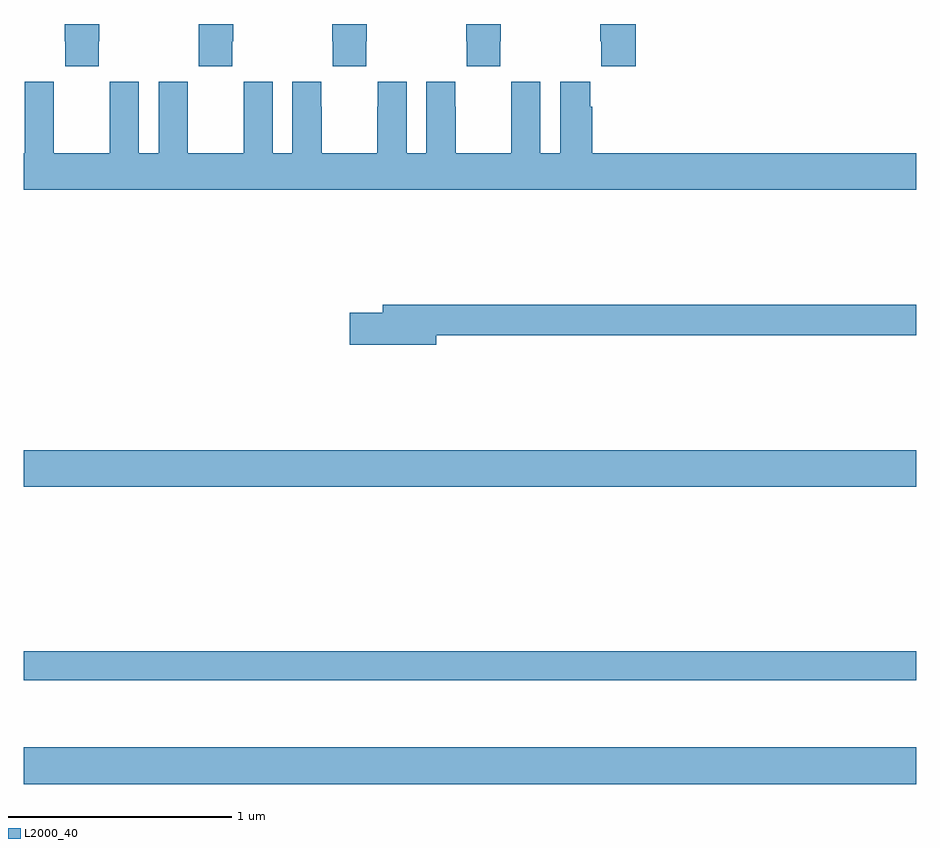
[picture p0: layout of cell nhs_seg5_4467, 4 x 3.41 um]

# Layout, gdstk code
import gdstk
lib = gdstk.Library(unit=1e-6, precision=1e-09)
def R(c, l, rs):  # rectangles x0, y0, x1, y1
    for r in rs: c.add(gdstk.rectangle(r[:2], r[2:], *l))
def P(c, l, *ps):  # polygons
    for p in ps: c.add(gdstk.Polygon(p, *l))
L2000_40 = (2000, 40)

nhs_seg5_4467 = lib.new_cell('nhs_seg5_4467')
R(nhs_seg5_4467, L2000_40, [(373,891.392,377,891.556), (373,891.858,377,891.986), (373,892.724,377,892.888)])
P(nhs_seg5_4467, L2000_40, [(373.335,894.721),(373.338,894.721),(373.338,894.799),(373.183,894.799),(373.183,894.721),(373.185,894.721),(373.185,894.609),(373.335,894.609)],
  [(373.935,894.721),(373.938,894.721),(373.938,894.799),(373.783,894.799),(373.783,894.721),(373.785,894.721),(373.785,894.609),(373.935,894.609)],
  [(374.383,894.721),(374.385,894.721),(374.385,894.609),(374.535,894.609),(374.535,894.721),(374.538,894.721),(374.538,894.799),(374.383,894.799)],
  [(375.743,894.799),(375.583,894.799),(375.583,894.721),(375.589,894.721),(375.589,894.609),(375.743,894.609)],
  [(375.135,894.721),(375.138,894.721),(375.138,894.799),(374.983,894.799),(374.983,894.721),(374.985,894.721),(374.985,894.609),(375.135,894.609)],
  [(374.204,894.541),(374.204,894.22),(374.116,894.22),(374.116,894.541),(373.986,894.541),(373.986,894.428),(373.985,894.428),(373.985,894.22),(373.735,894.22),(373.735,894.428),(373.734,894.428),(373.734,894.541),(373.604,894.541),(373.604,894.22),(373.516,894.22),(373.516,894.541),(373.386,894.541),(373.386,894.428),(373.385,894.428),(373.385,894.22),(373.135,894.22),(373.135,894.428),(373.134,894.428),(373.134,894.541),(373.004,894.541),(373.004,894.22),(373,894.22),(373,894.056),(377,894.056),(377,894.22),(375.548,894.22),(375.548,894.428),(375.538,894.428),(375.538,894.541),(375.404,894.541),(375.404,894.22),(375.316,894.22),(375.316,894.541),(375.186,894.541),(375.186,894.428),(375.185,894.428),(375.185,894.22),(374.935,894.22),(374.935,894.428),(374.934,894.428),(374.934,894.541),(374.804,894.541),(374.804,894.22),(374.716,894.22),(374.716,894.541),(374.586,894.541),(374.586,894.428),(374.585,894.428),(374.585,894.22),(374.335,894.22),(374.335,894.428),(374.334,894.428),(374.334,894.541)],
  [(374.848,893.404),(377,893.404),(377,893.54),(374.609,893.54),(374.609,893.504),(374.46,893.504),(374.46,893.362),(374.848,893.362)])

lib.write_gds('nhs_seg5_4467.gds')
